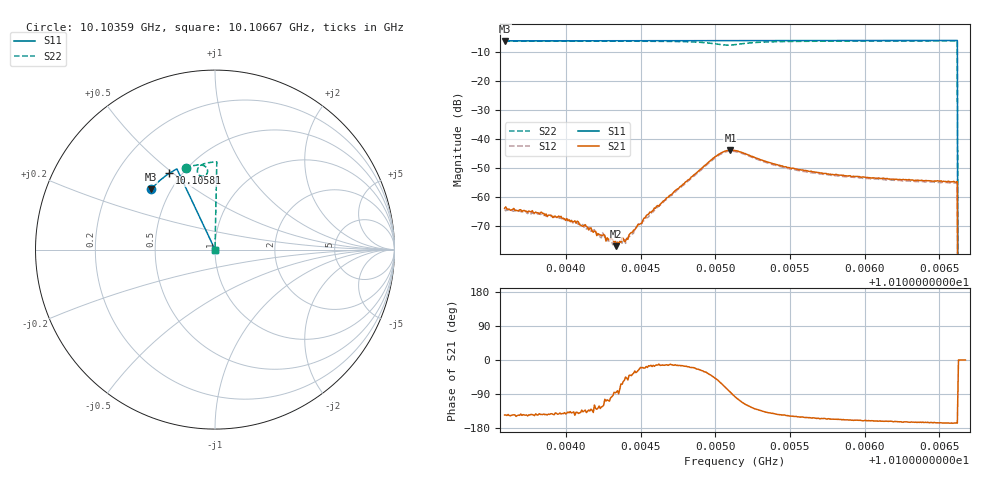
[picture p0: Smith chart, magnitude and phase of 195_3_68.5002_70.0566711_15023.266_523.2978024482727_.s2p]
#  HZ  S  RI  R  50.00
! Rohde & Schwarz Vector Network Analyzer
! Rohde-Schwarz,ZNB20-2Port,1311601062101988,3.16
! Created: UTC 3/20/2024, 5:12:25 PM
! freq[Hz]  re:S11  im:S11  re:S21  im:S21  re:S12  im:S12  re:S22  im:S22
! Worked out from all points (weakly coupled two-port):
!   401 points, 10.10359 GHz to 10.10667 GHz, reference 50 ohm
!   highest |S21| = -43.81 dB at 10.1051 GHz (marker M1); lowest = -76.8 dB at 10.10434 GHz (marker M2)
!   lowest |S11| = -6.2 dB at 10.10359 GHz (marker M3), VSWR 2.92, Z = 19.5 + j17.2 ohm
!   |S11| at or under -10 dB: 10.10662 GHz to end of sweep
!   |S22| runs from - to -6.2 dB; largest |S21 - S12| = 0.00069
!   S11 on the Smith chart (normalised r, x): 10.10359 GHz: 0.39, +0.34; 10.10581 GHz: 0.43, +0.48; 10.10667 GHz: 1.00, +0.00
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1.010359e10  -0.3557 0.3365  -0.000529 -0.00037  -0.000475 -0.000391  -0.1642 0.453
1.010396e10  -0.3406 0.3533  -0.000348 -0.000295  -0.000325 -0.000288  -0.14 0.4618
1.0104107e10  -0.3344 0.3597  -0.000218 -0.000238  -0.000248 -0.000255  -0.1299 0.465
1.0104222e10  -0.3293 0.3646  -0.000121 -0.000197  -9.77e-05 -0.000218  -0.1215 0.4673
1.0104261e10  -0.3277 0.3663  -5.24e-05 -0.000215  -5.66e-05 -0.000196  -0.1185 0.468
1.01043e10  -0.326 0.3679  -3.46e-05 -0.000196  -3e-05 -0.000176  -0.1155 0.4686
1.0104338e10  -0.3244 0.3696  1.29e-05 -0.000144  3.85e-05 -0.000164  -0.1125 0.4694
1.0104361e10  -0.3233 0.3706  4.43e-05 -0.000173  6.54e-05 -0.000157  -0.1107 0.4698
1.0104415e10  -0.3209 0.3727  0.000114 -0.00015  0.000158 -0.000129  -0.1063 0.4707
1.0104477e10  -0.3181 0.3754  0.000272 -0.000162  0.000293 -0.000119  -0.1011 0.4714
1.0104623e10  -0.3115 0.3813  0.00069 -0.000132  0.000712 -9.41e-05  -0.0871 0.4724
1.0104986e10  -0.2945 0.3954  0.00336 -0.00327  0.00349 -0.00278  -0.0413 0.4376
1.0105047e10  -0.2917 0.3976  0.00256 -0.00536  0.00297 -0.00488  -0.0505 0.416
1.0105101e10  -0.2892 0.3994  0.000516 -0.00643  0.00108 -0.00611  -0.0728 0.4086
1.0105132e10  -0.2879 0.4006  -0.000774 -0.00631  -0.000178 -0.00612  -0.085 0.4128
1.0105394e10  -0.2754 0.4105  -0.00295 -0.00234  -0.00261 -0.00246  -0.0847 0.4653
1.0105648e10  -0.2629 0.4194  -0.00245 -0.00125  -0.00225 -0.00141  -0.0608 0.4782
1.010581e10  -0.2546 0.4249  -0.00228 -0.000975  -0.00207 -0.00114  -0.0477 0.4818
1.0106165e10  -0.2365 0.4363  -0.00195 -0.000646  -0.00182 -0.000775  -0.0216 0.4862
1.0106604e10  -0.2131 0.4493  -0.00177 -0.000425  -0.00168 -0.000564  0.00892 0.4883
1.0106643e10  0 0  0 0  0 0  0 0
1.0106674e10  0 0  0 0  0 0  0 0
